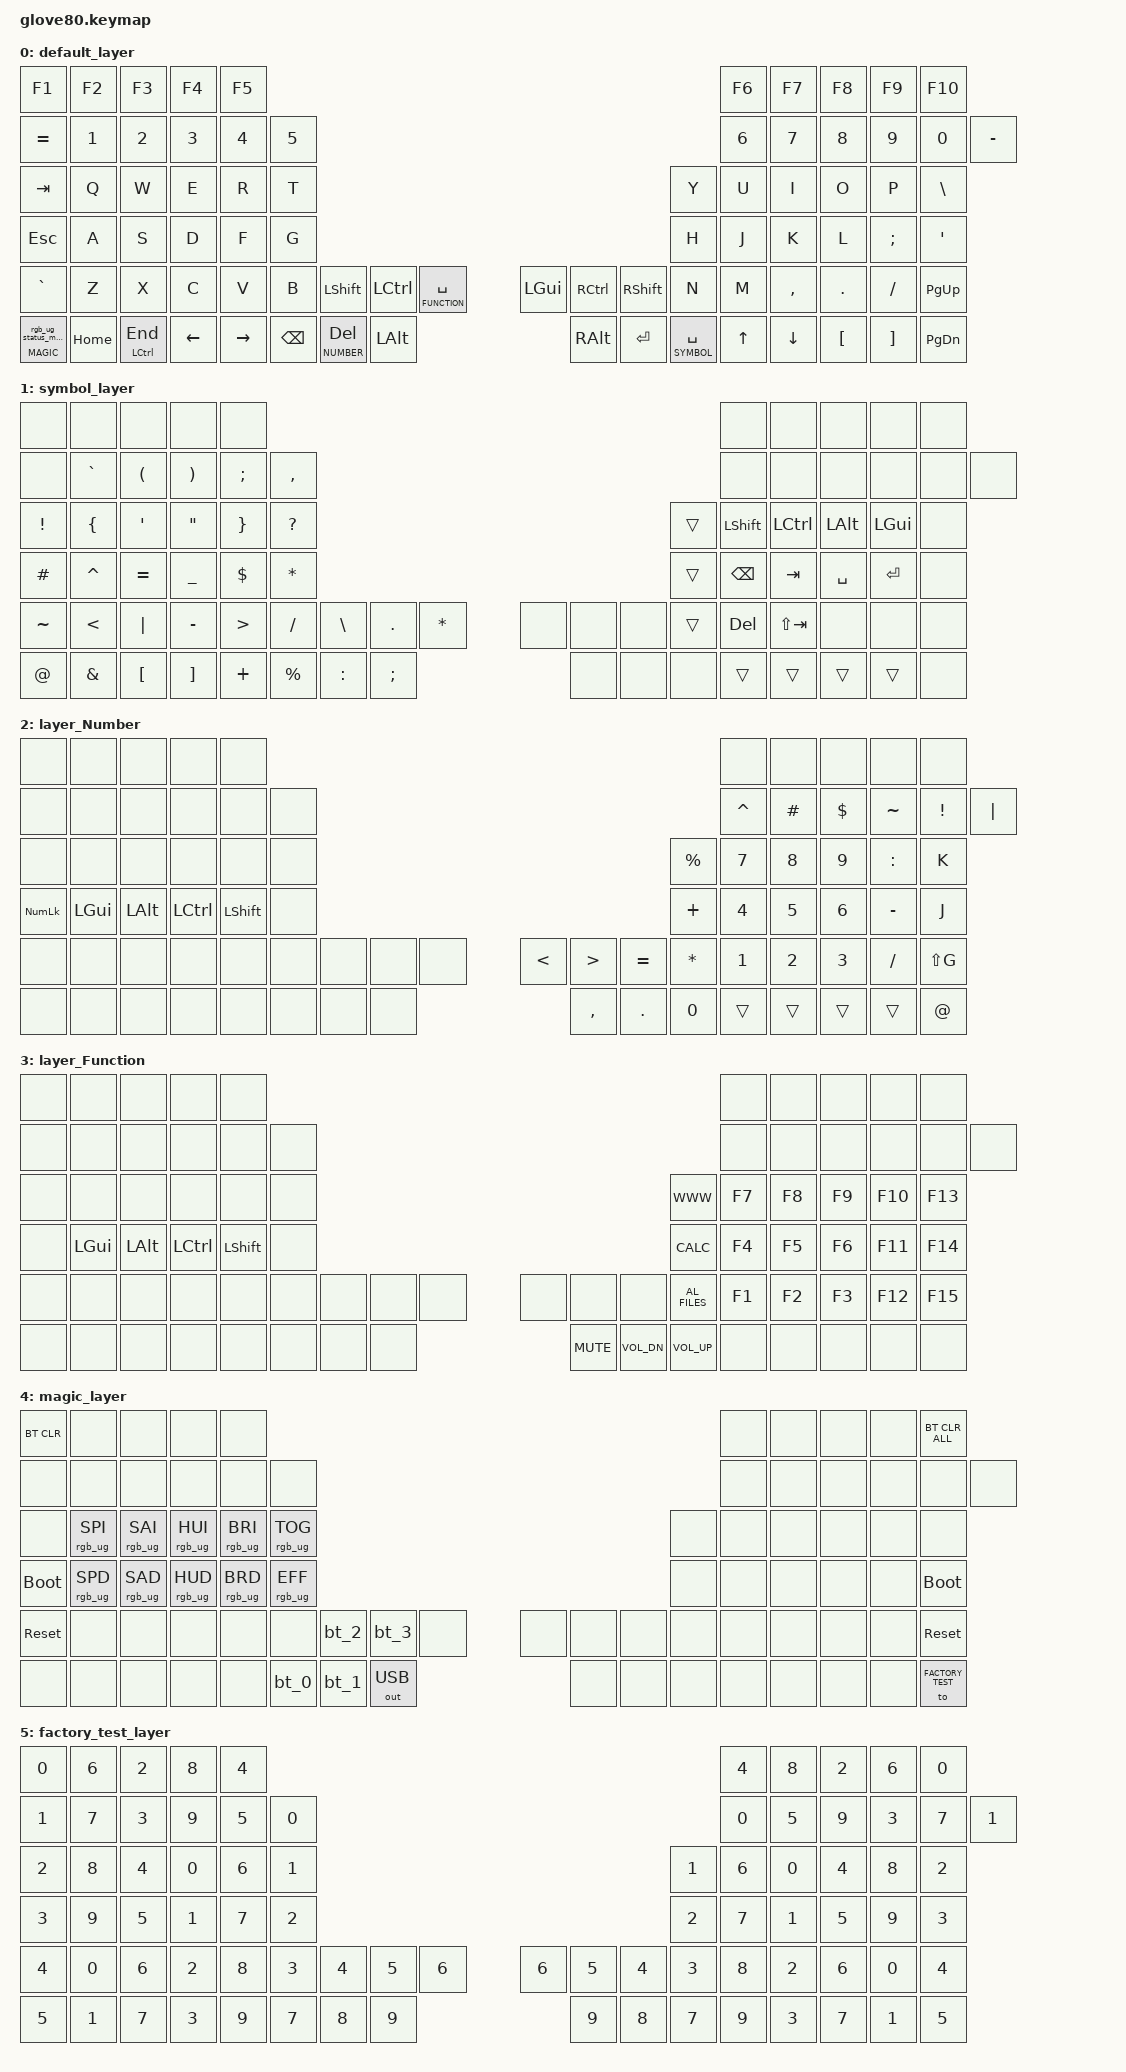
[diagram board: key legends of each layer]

/*
 * Copyright (c) 2020 The ZMK Contributors
 *
 * SPDX-License-Identifier: MIT
 */

#include <behaviors.dtsi>
#include <dt-bindings/zmk/keys.h>
#include <dt-bindings/zmk/bt.h>
#include <dt-bindings/zmk/ext_power.h>
#include <dt-bindings/zmk/outputs.h>
#include <dt-bindings/zmk/rgb.h>

#define HYPER LC(LS(LG(LALT)))

// layers
#define DEFAULT 0
#define SYMBOL 1
#define NUMBER 2
#define FUNCTION 3
#define MAGIC 4
#define FACTORY_TEST 5

/ {
    behaviors {
        // For the "layer" key, it'd nice to be able to use it as either a shift or a toggle.
        // Configure it as a tap dance, so the first tap (or hold) is a &mo and the second tap is a &to
        layer_td: tap_dance_0 {
            compatible = "zmk,behavior-tap-dance";
            label = "LAYER_TAP_DANCE";
            #binding-cells = <0>;
            tapping-term-ms = <200>;
            bindings = <&mo SYMBOL>, <&to SYMBOL>;
        };

        magic: magic_hold_tap {
            compatible = "zmk,behavior-hold-tap";
            label = "MAGIC_HOLD_TAP";
            #binding-cells = <2>;
            flavor = "tap-preferred";
            tapping-term-ms = <200>;
            bindings = <&mo>, <&rgb_ug_status_macro>;
        };
    };

    macros {
        rgb_ug_status_macro: rgb_ug_status_macro_0 {
            label = "RGB_UG_STATUS";
            compatible = "zmk,behavior-macro";
            #binding-cells = <0>;
            bindings
                = <&rgb_ug RGB_STATUS>;
        };

        bt_0: bt_profile_macro_0 {
            label = "BT_0";
            compatible = "zmk,behavior-macro";
            #binding-cells = <0>;
            bindings
                = <&out OUT_BLE>,
                  <&bt BT_SEL 0>;
        };

        bt_1: bt_profile_macro_1 {
            label = "BT_1";
            compatible = "zmk,behavior-macro";
            #binding-cells = <0>;
            bindings
                = <&out OUT_BLE>,
                  <&bt BT_SEL 1>;
        };

        bt_2: bt_profile_macro_2 {
            label = "BT_2";
            compatible = "zmk,behavior-macro";
            #binding-cells = <0>;
            bindings
                = <&out OUT_BLE>,
                  <&bt BT_SEL 2>;
        };

        bt_3: bt_profile_macro_3 {
            label = "BT_3";
            compatible = "zmk,behavior-macro";
            #binding-cells = <0>;
            bindings
                = <&out OUT_BLE>,
                  <&bt BT_SEL 3>;
        };
    };
    
    behaviors {
        space: thumb_layer_access_spacebar {
            compatible = "zmk,behavior-hold-tap";
            flavor = "balanced";
            tapping-term-ms = <200>;
            #binding-cells = <2>;
            bindings = <&mo>, <&kp>;
        };

        thumb: thumb_layer_access {
            compatible = "zmk,behavior-hold-tap";
            flavor = "balanced";
            tapping-term-ms = <200>;
            #binding-cells = <2>;
            bindings = <&mo>, <&kp>;
        };
        end_hold_ctrl: end_hold_ctrl_behavior {
            compatible = "zmk,behavior-hold-tap";
            label = "END_HOLD_CTRL";
            #binding-cells = <2>;
            flavor = "balanced"; 
            tapping-term-ms = <200>; 
            bindings = <&kp>, <&kp>;
        };
    };

    keymap {
        compatible = "zmk,keymap";

        default_layer {
            // ---------------------------------------------------------------------------------------------------------------------------------
            // |  F1   |  F2 |  F3 |  F4  |  F5  |                                                               |  F6   |  F7   |  F8  |   F9  |  F10 |
            // |  =    |  1  |  2  |  3   |  4   |  5   |                                                 |  6   |   7   |   8   |  9   |   0   |   -  |
            // |  TAB  |  Q  |  W  |  E   |  R   |  T   |                                                 |  Y   |   U   |   I   |  O   |   P   |   \  |
            // |  ESC  |  A  |  S  |  D   |  F   |  G   |                                                 |  H   |   J   |   K   |  L   |   ;   |   '  |
            // |   `   |  Z  |  X  |  C   |  V   |  B   | LSHFT | LCTRL | SYMBOL | | LGUI  | RCTRL | RSHFT |  N   |   M   |   ,   |  .   |   /   | PGUP |
            // | MAGIC | HOME| END | LEFT | RIGHT|      | BSPC  | DEL   | LALT  | | RALT  | RET   | SPACE |      |  UP   | DOWN  |  [   |   ]   | PGDN |

            bindings = <
            &kp F1         &kp F2   &kp F3      &kp F4      &kp F5                                                                                         &kp F6  &kp F7      &kp F8      &kp F9      &kp F10
            &kp EQUAL      &kp N1   &kp N2      &kp N3      &kp N4      &kp N5                                                                     &kp N6  &kp N7  &kp N8      &kp N9      &kp N0      &kp MINUS
            &kp TAB        &kp Q    &kp W       &kp E       &kp R       &kp T                                                                      &kp Y   &kp U   &kp I       &kp O       &kp P       &kp BSLH
            &kp ESC        &kp A    &kp S       &kp D       &kp F       &kp G                                                                      &kp H   &kp J   &kp K       &kp L       &kp SEMI    &kp SQT
            &kp GRAVE      &kp Z    &kp X       &kp C       &kp V       &kp B   &kp LSHFT   &kp LCTRL   &thumb FUNCTION SPACE &kp LGUI  &kp RCTRL &kp RSHFT   &kp N   &kp M   &kp COMMA   &kp DOT     &kp FSLH    &kp PG_UP
            &magic MAGIC 0 &kp HOME &end_hold_ctrl LCTRL END    &kp LEFT    &kp RIGHT           &kp BSPC    &thumb NUMBER DEL     &kp LALT   &kp RALT  &kp RET   &space SYMBOL SPACE           &kp UP  &kp DOWN    &kp LBKT    &kp RBKT    &kp PG_DN
            >;
        };

        symbol_layer {
            bindings = <
            &none      &none      &none      &none     &none                                                                                            &none        &none      &none     &none   &none
            &none  &kp GRAVE   &kp LPAR   &kp RPAR  &kp SEMI  &kp COMMA                                                                      &none      &none        &none      &none     &none   &none
            &kp EXCL   &kp LBRC    &kp SQT    &kp DQT  &kp RBRC  &kp QMARK                                                                     &trans  &kp LSHFT    &kp LCTRL   &kp LALT  &kp LGUI   &none
            &kp HASH  &kp CARET  &kp EQUAL  &kp UNDER  &kp DLLR   &kp STAR                                                                     &trans   &kp BSPC      &kp TAB  &kp SPACE   &kp RET   &none
            &kp TILDE     &kp LT   &kp PIPE  &kp MINUS    &kp GT   &kp FSLH   &kp BSLH    &kp DOT  &kp STAR              &none   &none   &none  &trans    &kp DEL  &kp LS(TAB)      &none     &none   &none
            &kp AT   &kp AMPS   &kp LBKT   &kp RBKT  &kp PLUS             &kp PRCNT  &kp COLON  &kp SEMI                &none   &none   &none             &trans       &trans     &trans    &trans   &none
            >;
        };
        
        layer_Number {
            bindings = <
      &none     &none     &none      &none      &none                                                                                          &none     &none      &none      &none      &none
      &none     &none     &none      &none      &none   &none                                                                    &kp CARET  &kp HASH  &kp DLLR  &kp TILDE   &kp EXCL   &kp PIPE
      &none     &none     &none      &none      &none   &none                                                                    &kp PRCNT    &kp N7    &kp N8     &kp N9  &kp COLON      &kp K
 &kp KP_NUM  &kp LGUI  &kp LALT  &kp LCTRL  &kp LSHFT   &none                                                                     &kp PLUS    &kp N4    &kp N5     &kp N6  &kp MINUS      &kp J
      &none     &none     &none      &none      &none   &none   &none   &none  &none     &kp LT   &kp GT  &kp EQUAL   &kp STAR    &kp N1    &kp N2     &kp N3   &kp FSLH  &kp LS(G)
      &none     &none     &none      &none      &none           &none   &none  &none       &kp COMMA  &kp DOT     &kp N0               &trans    &trans     &trans     &trans     &kp AT
            >;
        };
        
        layer_Function {
            bindings = <
  &none     &none     &none      &none      &none                                                                                                                 &none         &none         &none          &none           &none
  &none     &none     &none      &none      &none   &none                                                                                                       &none  &none   &none    &none   &none  &none 
  &none     &none     &none      &none      &none   &none                                                                                      &kp K_WWW         &kp F7        &kp F8        &kp F9        &kp F10         &kp F13
  &none  &kp LGUI  &kp LALT  &kp LCTRL  &kp LSHFT   &none                                                                                     &kp K_CALC         &kp F4        &kp F5        &kp F6        &kp F11         &kp F14
  &none     &none     &none      &none      &none   &none   &none   &none  &none                &none       &none      &none                  &kp C_AL_FILES         &kp F1        &kp F2        &kp F3        &kp F12         &kp F15
  &none     &none     &none      &none      &none           &none   &none  &none                &kp C_MUTE  &kp C_VOL_DN  &kp C_VOL_UP                    &none   &none    &none   &none  &none 

            >;
        };
        
        magic_layer {
            bindings = <
            &bt BT_CLR        &none               &none           &none           &none                                                                                                           &none      &none      &none      &none      &bt BT_CLR_ALL
            &none             &none               &none           &none           &none           &none                                                                                &none      &none      &none      &none      &none      &none
            &none             &rgb_ug RGB_SPI     &rgb_ug RGB_SAI &rgb_ug RGB_HUI &rgb_ug RGB_BRI &rgb_ug RGB_TOG                                                                      &none      &none      &none      &none      &none      &none
            &bootloader       &rgb_ug RGB_SPD     &rgb_ug RGB_SAD &rgb_ug RGB_HUD &rgb_ug RGB_BRD &rgb_ug RGB_EFF                                                                      &none      &none      &none      &none      &none      &bootloader
            &sys_reset        &none               &none           &none           &none           &none           &bt_2     &bt_3     &none            &none     &none     &none       &none      &none      &none      &none      &none      &sys_reset
            &none             &none               &none           &none           &none                           &bt_0     &bt_1     &out OUT_USB     &none     &none     &none                  &none      &none      &none      &none      &to FACTORY_TEST
            >;
        };

        factory_test_layer {
            bindings = <
            &kp N0   &kp N6   &kp N2   &kp N8   &kp N4                                                                              &kp N4   &kp N8   &kp N2   &kp N6   &kp N0
            &kp N1   &kp N7   &kp N3   &kp N9   &kp N5   &kp N0                                                            &kp N0   &kp N5   &kp N9   &kp N3   &kp N7   &kp N1
            &kp N2   &kp N8   &kp N4   &kp N0   &kp N6   &kp N1                                                            &kp N1   &kp N6   &kp N0   &kp N4   &kp N8   &kp N2
            &kp N3   &kp N9   &kp N5   &kp N1   &kp N7   &kp N2                                                            &kp N2   &kp N7   &kp N1   &kp N5   &kp N9   &kp N3
            &kp N4   &kp N0   &kp N6   &kp N2   &kp N8   &kp N3   &kp N4   &kp N5   &kp N6      &kp N6   &kp N5   &kp N4   &kp N3   &kp N8   &kp N2   &kp N6   &kp N0   &kp N4
            &kp N5   &kp N1   &kp N7   &kp N3   &kp N9            &kp N7   &kp N8   &kp N9      &kp N9   &kp N8   &kp N7            &kp N9   &kp N3   &kp N7   &kp N1   &kp N5
            >;
        };
    };
};
